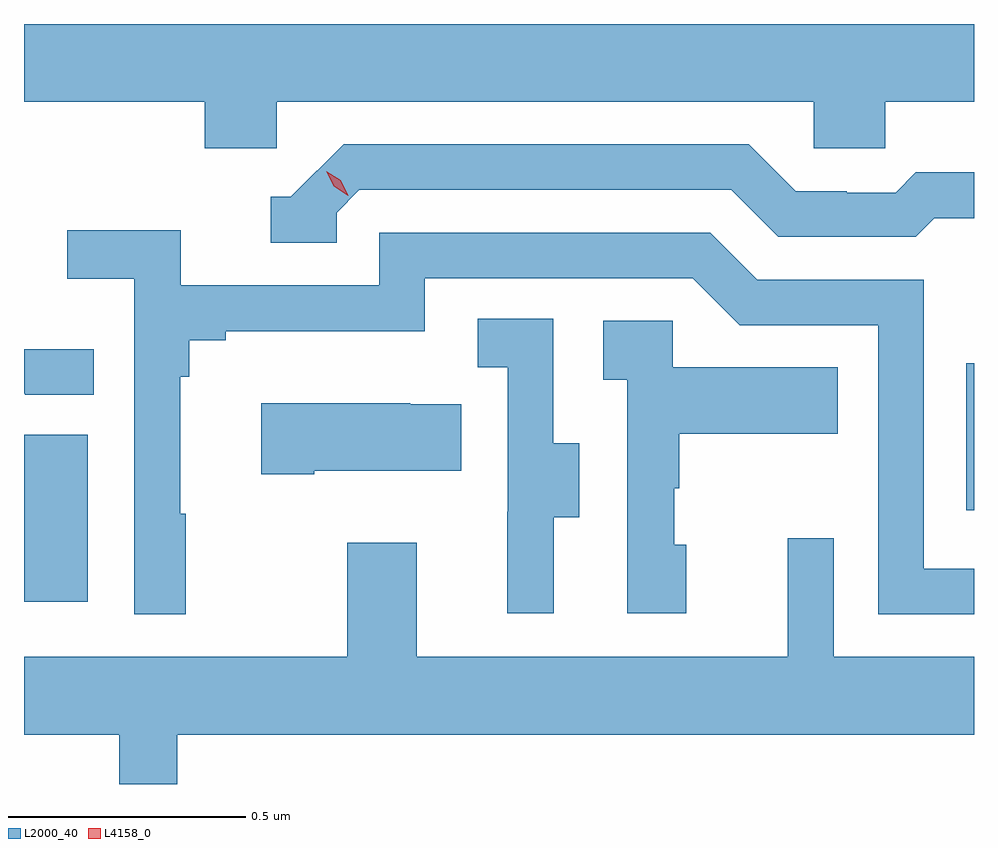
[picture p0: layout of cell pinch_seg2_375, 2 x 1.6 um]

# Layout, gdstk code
import gdstk
lib = gdstk.Library(unit=1e-6, precision=1e-09)
def R(c, l, rs):  # rectangles x0, y0, x1, y1
    for r in rs: c.add(gdstk.rectangle(r[:2], r[2:], *l))
def P(c, l, *ps):  # polygons
    for p in ps: c.add(gdstk.Polygon(p, *l))
L2000_40 = (2000, 40)
L4158_0 = (4158, 0)

pinch_seg2_375 = lib.new_cell('pinch_seg2_375')
R(pinch_seg2_375, L2000_40, [(996.092,611.952,996.226,612.303), (998.076,612.144,998.092,612.454)])
P(pinch_seg2_375, L2000_40, [(996.624,613.004),(997.755,613.004),(997.755,612.906),(997.905,612.906),(997.905,613.004),(998.092,613.004),(998.092,613.168),(996.092,613.168),(996.092,613.004),(996.473,613.004),(996.473,612.906),(996.624,612.906)],
  [(996.75,612.771),(996.798,612.819),(997.581,612.819),(997.68,612.72),(997.969,612.72),(998.008,612.759),(998.092,612.759),(998.092,612.856),(997.969,612.856),(997.927,612.813),(997.824,612.813),(997.824,612.816),(997.717,612.816),(997.618,612.915),(996.765,612.915),(996.654,612.804),(996.611,612.804),(996.611,612.708),(996.75,612.708)],
  [(996.433,612.137),(996.421,612.137),(996.421,612.425),(996.44,612.425),(996.44,612.502),(996.517,612.502),(996.517,612.521),(996.936,612.521),(996.936,612.633),(997.5,612.633),(997.599,612.534),(997.89,612.534),(997.89,611.925),(998.092,611.925),(998.092,612.021),(997.986,612.021),(997.986,612.63),(997.636,612.63),(997.537,612.729),(996.84,612.729),(996.84,612.618),(996.422,612.618),(996.422,612.734),(996.183,612.734),(996.183,612.632),(996.324,612.632),(996.324,611.925),(996.433,611.925)],
  [(997.207,612.13),(997.261,612.13),(997.261,612.285),(997.206,612.285),(997.206,612.548),(997.047,612.548),(997.047,612.445),(997.11,612.445),(997.11,612.141),(997.109,612.141),(997.109,611.928),(997.207,611.928)],
  [(997.486,612.072),(997.461,612.072),(997.461,612.191),(997.471,612.191),(997.471,612.305),(997.805,612.305),(997.805,612.445),(997.458,612.445),(997.458,612.543),(997.311,612.543),(997.311,612.419),(997.362,612.419),(997.362,611.928),(997.486,611.928)],
  [(996.239,612.483),(996.092,612.483),(996.092,612.391),(996.095,612.388),(996.239,612.388)],
  [(996.703,612.227),(997.013,612.227),(997.013,612.367),(996.905,612.367),(996.905,612.37),(996.591,612.37),(996.591,612.22),(996.703,612.22)],
  [(996.415,611.672),(998.092,611.672),(998.092,611.836),(997.797,611.836),(997.797,612.085),(997.7,612.085),(997.7,611.836),(996.919,611.836),(996.919,612.076),(996.772,612.076),(996.772,611.836),(996.092,611.836),(996.092,611.672),(996.293,611.672),(996.293,611.568),(996.415,611.568)])
P(pinch_seg2_375, L4158_0, [(996.775,612.806),(996.744,612.826),(996.728,612.858),(996.728,612.858),(996.728,612.858),(996.759,612.839),(996.775,612.806),(996.775,612.806)])

lib.write_gds('pinch_seg2_375.gds')
